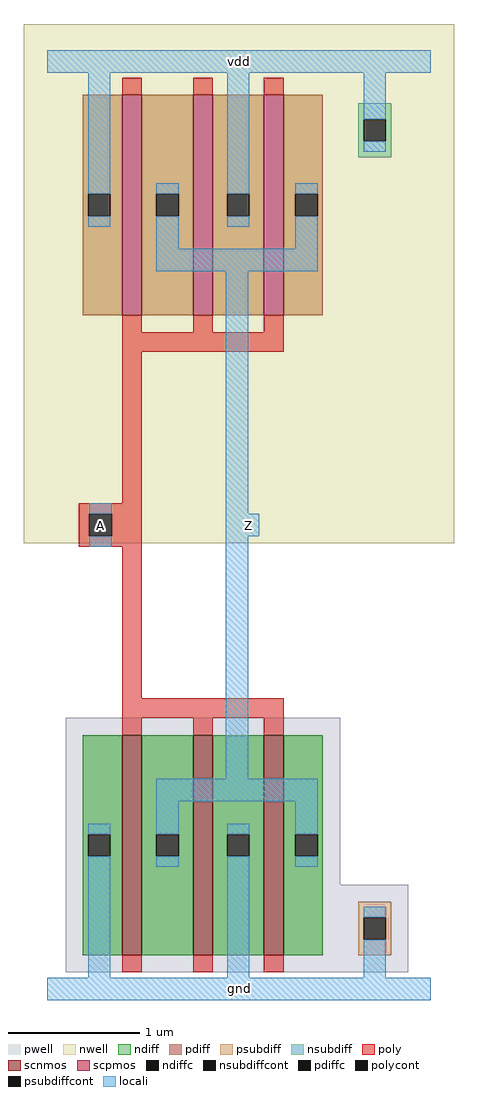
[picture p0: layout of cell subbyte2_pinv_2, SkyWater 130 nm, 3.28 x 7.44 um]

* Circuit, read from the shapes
.subckt subbyte2_pinv_2 A Z gnd vdd
XM1 Z A gnd gnd sky130_fd_pr__nfet_01v8 w=1.68 l=0.15 m=3
XM2 Z A vdd vdd sky130_fd_pr__pfet_01v8 w=1.68 l=0.15 m=3
.ends

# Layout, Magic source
magic
tech sky130A
magscale 1 2
<< nwell >>
rect -36 679 620 1471
<< pwell >>
rect 28 159 446 413
rect 28 25 550 159
<< scnmos >>
rect 114 51 144 387
rect 222 51 252 387
rect 330 51 360 387
<< scpmos >>
rect 114 1027 144 1363
rect 222 1027 252 1363
rect 330 1027 360 1363
<< ndiff >>
rect 54 236 114 387
rect 54 202 62 236
rect 96 202 114 236
rect 54 51 114 202
rect 144 236 222 387
rect 144 202 166 236
rect 200 202 222 236
rect 144 51 222 202
rect 252 236 330 387
rect 252 202 274 236
rect 308 202 330 236
rect 252 51 330 202
rect 360 236 420 387
rect 360 202 378 236
rect 412 202 420 236
rect 360 51 420 202
<< pdiff >>
rect 54 1212 114 1363
rect 54 1178 62 1212
rect 96 1178 114 1212
rect 54 1027 114 1178
rect 144 1212 222 1363
rect 144 1178 166 1212
rect 200 1178 222 1212
rect 144 1027 222 1178
rect 252 1212 330 1363
rect 252 1178 274 1212
rect 308 1178 330 1212
rect 252 1027 330 1178
rect 360 1212 420 1363
rect 360 1178 378 1212
rect 412 1178 420 1212
rect 360 1027 420 1178
<< ndiffc >>
rect 62 202 96 236
rect 166 202 200 236
rect 274 202 308 236
rect 378 202 412 236
<< pdiffc >>
rect 62 1178 96 1212
rect 166 1178 200 1212
rect 274 1178 308 1212
rect 378 1178 412 1212
<< psubdiff >>
rect 474 109 524 133
rect 474 75 482 109
rect 516 75 524 109
rect 474 51 524 75
<< nsubdiff >>
rect 474 1326 524 1350
rect 474 1292 482 1326
rect 516 1292 524 1326
rect 474 1268 524 1292
<< psubdiffcont >>
rect 482 75 516 109
<< nsubdiffcont >>
rect 482 1292 516 1326
<< poly >>
rect 114 1363 144 1389
rect 222 1363 252 1389
rect 330 1363 360 1389
rect 114 1001 144 1027
rect 222 1001 252 1027
rect 330 1001 360 1027
rect 114 971 360 1001
rect 114 740 144 971
rect 48 724 144 740
rect 48 690 64 724
rect 98 690 144 724
rect 48 674 144 690
rect 114 443 144 674
rect 114 413 360 443
rect 114 387 144 413
rect 222 387 252 413
rect 330 387 360 413
rect 114 25 144 51
rect 222 25 252 51
rect 330 25 360 51
<< polycont >>
rect 64 690 98 724
<< locali >>
rect 0 1397 584 1431
rect 62 1212 96 1397
rect 62 1162 96 1178
rect 166 1212 200 1228
rect 166 1128 200 1178
rect 274 1212 308 1397
rect 482 1326 516 1397
rect 482 1276 516 1292
rect 274 1162 308 1178
rect 378 1212 412 1228
rect 378 1128 412 1178
rect 166 1094 412 1128
rect 64 724 98 740
rect 64 674 98 690
rect 272 724 306 1094
rect 272 690 323 724
rect 272 320 306 690
rect 166 286 412 320
rect 62 236 96 252
rect 62 17 96 202
rect 166 236 200 286
rect 166 186 200 202
rect 274 236 308 252
rect 274 17 308 202
rect 378 236 412 286
rect 378 186 412 202
rect 482 109 516 125
rect 482 17 516 75
rect 0 -17 584 17
<< labels >>
rlabel locali s 81 707 81 707 4 A
port 1 nsew
rlabel locali s 306 707 306 707 4 Z
port 2 nsew
rlabel locali s 292 0 292 0 4 gnd
port 3 nsew
rlabel locali s 292 1414 292 1414 4 vdd
port 4 nsew
<< properties >>
string FIXED_BBOX 0 0 584 1111
<< end >>
